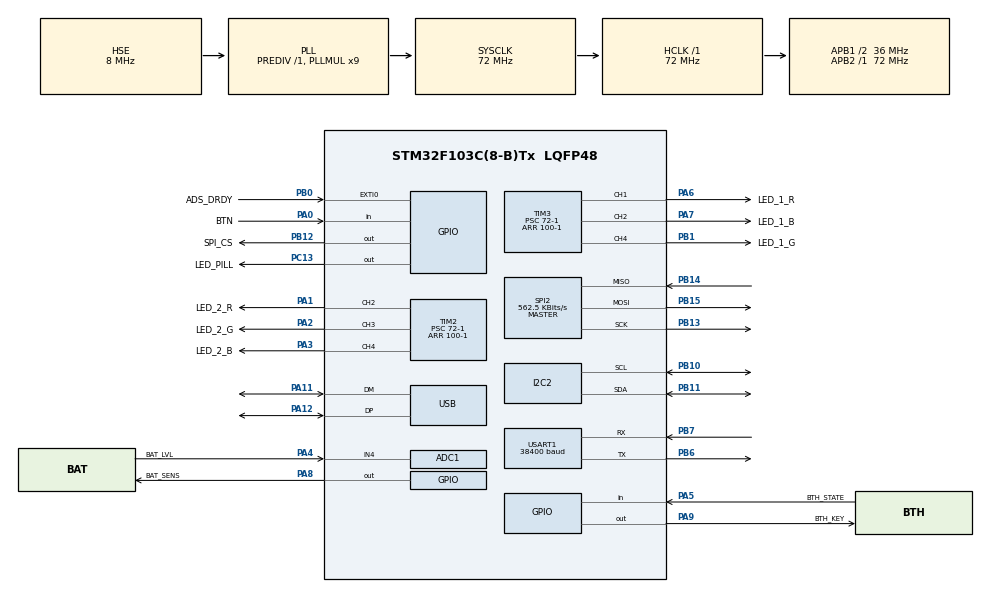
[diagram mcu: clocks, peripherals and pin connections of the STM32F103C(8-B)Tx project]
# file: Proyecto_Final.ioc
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Mcu.Family=STM32F1
SPI2.VirtualType=VM_MASTER
PB10.Mode=I2C
USART1.BaudRate=38400
PA11.Mode=Device
PA6.GPIO_Label=LED_1_R
PB0.GPIO_Label=ADS_DRDY
NVIC.TIM1_UP_IRQn=true\:0\:0\:false\:false\:true\:false\:true
TIM2.Channel-PWM\ Generation2\ CH2=TIM_CHANNEL_2
PB11.Signal=I2C2_SDA
PB13.Signal=SPI2_SCK
PB15.Signal=SPI2_MOSI
TIM3.Channel-PWM\ Generation4\ CH4=TIM_CHANNEL_4
RCC.SYSCLKSource=RCC_SYSCLKSOURCE_PLLCLK
ProjectManager.StackSize=0x400
PD1-OSC_OUT.Signal=RCC_OSC_OUT
PA12.Signal=USB_DP
RCC.HCLKFreq_Value=72000000
RCC.APB2TimFreq_Value=72000000
TIM3.Period=100-1
PB6.Signal=USART1_TX
PB6.Mode=Asynchronous
RCC.AHBFreq_Value=72000000
SPI2.BaudRatePrescaler=SPI_BAUDRATEPRESCALER_64
TIM3.Channel-PWM\ Generation1\ CH1=TIM_CHANNEL_1
ADC1.Channel-0\#ChannelRegularConversion=ADC_CHANNEL_4
RCC.PLLMUL=RCC_PLL_MUL9
PB12.GPIO_Label=SPI_CS
PB0.GPIO_ModeDefaultEXTI=GPIO_MODE_IT_FALLING
PA14.Mode=Serial_Wire
PB14.Mode=Full_Duplex_Master
VP_SYS_VS_tim1.Mode=TIM1
TIM3.Prescaler=72-1
PB1.GPIO_Label=LED_1_G
SPI2.CalculateBaudRate=562.5 KBits/s
PB7.Signal=USART1_RX
PA8.Signal=GPIO_Output
NVIC.SPI2_IRQn=true\:14\:0\:true\:false\:true\:true\:true
SH.S_TIM3_CH1.0=TIM3_CH1,PWM Generation1 CH1
ADC1.SamplingTime-0\#ChannelRegularConversion=ADC_SAMPLETIME_1CYCLE_5
Mcu.Package=LQFP48
TIM2.Prescaler=72-1
PB1.Signal=S_TIM3_CH4
PA6.Signal=S_TIM3_CH1
NVIC.TimeBase=TIM1_UP_IRQn
SPI2.Mode=SPI_MODE_MASTER
PA2.GPIO_Label=LED_2_G
NVIC.TimeBaseIP=TIM1
SPI2.CLKPhase=SPI_PHASE_2EDGE
RCC.APB1TimFreq_Value=72000000
SPI2.Direction=SPI_DIRECTION_2LINES
PB13.Mode=Full_Duplex_Master
NVIC.USART1_IRQn=true\:15\:0\:true\:false\:true\:true\:true
PA4.GPIO_Label=BAT_LVL
VP_TIM3_VS_ClockSourceINT.Mode=Internal
PA3.Signal=S_TIM2_CH4
TIM2.Channel-PWM\ Generation4\ CH4=TIM_CHANNEL_4
ADC1.Rank-0\#ChannelRegularConversion=1
PD1-OSC_OUT.Mode=HSE-External-Oscillator
PA9.GPIO_Label=BTH_KEY
PC13-TAMPER-RTC.Signal=GPIO_Output
RCC.USBPrescaler=RCC_USBCLKSOURCE_PLL_DIV1_5
PD0-OSC_IN.Signal=RCC_OSC_IN
RCC.APB1CLKDivider=RCC_HCLK_DIV2
PA0-WKUP.GPIO_Label=BTN
PA0-WKUP.Signal=GPIO_Input
RCC.ADCPresc=RCC_ADCPCLK2_DIV6
PA13.Signal=SYS_JTMS-SWDIO
SH.S_TIM2_CH2.0=TIM2_CH2,PWM Generation2 CH2
PA8.GPIO_Label=BAT_SENS
PB11.Mode=I2C
ProjectManager.TargetToolchain=STM32CubeIDE
PA9.Signal=GPIO_Output
RCC.USBFreq_Value=48000000
PA1.Signal=S_TIM2_CH2
PD0-OSC_IN.Mode=HSE-External-Oscillator
PB10.Signal=I2C2_SCL
PB14.Signal=SPI2_MISO
PA5.Signal=GPIO_Input
SH.S_TIM3_CH2.0=TIM3_CH2,PWM Generation2 CH2
board=custom
PC13-TAMPER-RTC.GPIO_Label=LED_PILL
PB15.Mode=Full_Duplex_Master
RCC.APB2Freq_Value=72000000
VP_TIM2_VS_ClockSourceINT.Mode=Internal
SH.S_TIM2_CH3.0=TIM2_CH3,PWM Generation3 CH3
PA1.GPIO_Label=LED_2_R
TIM2.Channel-PWM\ Generation3\ CH3=TIM_CHANNEL_3
SH.ADCx_IN4.0=ADC1_IN4,IN4
TIM2.Period=100-1
PA13.Mode=Serial_Wire
Mcu.Name=STM32F103C(8-B)Tx
PA2.Signal=S_TIM2_CH3
NVIC.EXTI0_IRQn=true\:15\:0\:true\:false\:true\:true\:true
PA4.Signal=ADCx_IN4
RCC.SYSCLKFreq_VALUE=72000000
PA7.GPIO_Label=LED_1_B
ADC1.master=1
PA12.Mode=Device
PA5.GPIO_Label=BTH_STATE
USART1.VirtualMode=VM_ASYNC
PA11.Signal=USB_DM
PB7.Mode=Asynchronous
PA14.Signal=SYS_JTCK-SWCLK
ProjectManager.HeapSize=0x200
SH.S_TIM2_CH4.0=TIM2_CH4,PWM Generation4 CH4
PA8.GPIO_PuPd=GPIO_PULLDOWN
NVIC.PriorityGroup=NVIC_PRIORITYGROUP_4
ADC1.NbrOfConversionFlag=1
TIM3.Channel-PWM\ Generation2\ CH2=TIM_CHANNEL_2
RCC.APB1Freq_Value=36000000
PB0.Signal=GPXTI0
PB12.Signal=GPIO_Output
PB0.GPIO_PuPd=GPIO_PULLUP
PA3.GPIO_Label=LED_2_B
SH.S_TIM3_CH4.0=TIM3_CH4,PWM Generation4 CH4
PA7.Signal=S_TIM3_CH2

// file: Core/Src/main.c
/* USER CODE BEGIN Header */
/*
 *  fecha: 12-2023
 *  Autor: Martín De Luca - martindeluca@frba.utn.edu.ar
 *
 */
/**
  ******************************************************************************
  * @file           : main.c
  * @brief          : Main program body
  ******************************************************************************
  * @attention
  *
  * <h2><center>&copy; Copyright (c) 2023 STMicroelectronics.
  * All rights reserved.</center></h2>
  *
  * This software component is licensed by ST under BSD 3-Clause license,
  * the "License"; You may not use this file except in compliance with the
  * License. You may obtain a copy of the License at:
  *                        opensource.org/licenses/BSD-3-Clause
  *
  ******************************************************************************
  */
/* USER CODE END Header */
#include "main.h"

/* USER CODE BEGIN PD */
#define nanofisio
/* USER CODE END PD */

ADC_HandleTypeDef hadc1;

I2C_HandleTypeDef hi2c2;

SPI_HandleTypeDef hspi2;

TIM_HandleTypeDef htim2;
TIM_HandleTypeDef htim3;

UART_HandleTypeDef huart1;
DMA_HandleTypeDef hdma_usart1_tx;

PCD_HandleTypeDef hpcd_USB_FS;

/* USER CODE BEGIN PV */
uint8_t recv_char;
uint8_t recv_3char[3];

uint32_t add_sn       = 0x0801F800;	//PAGINA 126// DIR DE MEMORIA FLASH Serial Number
uint32_t add_state    = 0x0801FC00;	// DIR DE MEMORIA estado del equipo
uint32_t add_bth_name = 0x0801FD00;	// DIR DE MEMORIA estado del equipo
uint32_t add_id       = 0x0801FC10;	// DIR DE MEMORIA FLASH Version del firmware

/* USER CODE END PV */

void SystemClock_Config(void);
static void MX_GPIO_Init(void);
static void MX_DMA_Init(void);
static void MX_ADC1_Init(void);
static void MX_USB_PCD_Init(void);
static void MX_I2C2_Init(void);
static void MX_SPI2_Init(void);
static void MX_USART1_UART_Init(void);
static void MX_TIM2_Init(void);
static void MX_TIM3_Init(void);
/* USER CODE BEGIN PFP */
uint8_t fnc_debounce(GPIO_TypeDef *GPIOx, uint16_t GPIO_Pin);
/* USER CODE END PFP */

/* USER CODE BEGIN 0 */
void fnc_TEST_LED (){
	uint8_t LED = LED_1;
//	uint8_t ACT_STATE = 0;
	int8_t LOOP_TIMES = 2;
	LED_START(LED_1);
	LED_START(LED_2);

	while (LOOP_TIMES){
		LED_Color(LED_COLOR_R, LED);
		vTaskDelay(100);
		LED_Off(LED);
		vTaskDelay(100);
		LED_Color(LED_COLOR_G, LED);
		vTaskDelay(100);
		LED_Off(LED);
		vTaskDelay(100);
		LED_Color(LED_COLOR_B, LED);
		vTaskDelay(100);
		LED_Off(LED);

		if (LED_1 == LED)
			LED = LED_2;
		else
			LED = LED_1;
		LOOP_TIMES--;
	}
}
void config_MAX(){
	taskENTER_CRITICAL();
	if(0 == max3010x_init_state()){
		max3010x_initialization(&hi2c2);
	}
	taskEXIT_CRITICAL();
}
void config_ADS(){
	ADS_REG REG_CONFIG = ADS1292_Default_REG();
	taskENTER_CRITICAL();// DELIMITACIÓN DE SECCIÓN CR�?TICA
	ADS1292_Init(&hspi2, SPI_CS_GPIO_Port, SPI_CS_Pin, EXTI0_IRQn);
	REG_CONFIG.SP_RATE      = CFG1_DR_FMOD_DIV256;
	REG_CONFIG.TEST.FREC    = CFG2_TEST_FREQ_1K;
	REG_CONFIG.TEST.ENABLED = CFG2_TEST_ON;
	REG_CONFIG.PDB_REFBUF   = CFG2_PDB_REFBUF;

	REG_CONFIG.CH1.ENABLED  = CHNSET_POWER_ENABLED;
	REG_CONFIG.CH1.GAIN     = CHNSET_GAIN_1;
	REG_CONFIG.CH1.MUX      = CHNSET_MUXN_TEST_SIGNAL;

	REG_CONFIG.CH2.ENABLED  = CHNSET_POWER_ENABLED;
	REG_CONFIG.CH2.GAIN     = CHNSET_GAIN_6;
	REG_CONFIG.CH2.MUX      = CHNSET_MUXN_NORMAL;
	ADS1292_Config(REG_CONFIG);
	//ADS1292_Suspend();
	taskEXIT_CRITICAL();// FINALIZACIÓN DE LA SECCIÓN CRITICA
}

static void tsk_GET_SIGNALS (void *pvParameters){
	HAL_StatusTypeDef ret_state;
	uint8_t ACT_STATE = 0;

	DATAQUEUE_2 DATA2SEND2;
	DATAQUEUE_3 DATA2SEND3;

	OperationMode mode;
	const SystemConfig  *config_mode;
	//Var ECG
	ADS_DATA SAMPLE_ECG;
	int32_t ECG[2];
	Filter_Data ecgch1f = {0};
	int32_t ecgcw = 0;
	UNUSED(ecgch1f);
	//Var PPG
	int16_t SAMPLE_PPG[2];
	int32_t IR_REDac[2];

	Filter_Data irf  = {0};
	Filter_Data redf = {0};
	//Var TRIANG
	uint32_t test_signal[2];

	//Loop
	while(1){
		//xQueuePeek(qe_states, &ACT_STATE, portMAX_DELAY);
		/* ECG - ADS1292 24BITS
		 * Interrupción por software a 1khz
		 * TODO: FILTROS 50-100-150HZ
		 */
		if ((uxQueueMessagesWaiting(qe_tx_uart3) >= 15)||(uxQueueMessagesWaiting(qe_tx_uart2) >= 15)) {
			if (xHandleUART != NULL) {
			    xTaskNotify(xHandleUART, 0, eIncrement);
			} else {
			    // opcional: toggle LED, log, etc.
			}
		}

		if( ADS1292_Interrupt_Flag() ){
			SAMPLE_ECG = ADS1292_Read_Data();
			ECG[0] = DCRemove(SAMPLE_ECG.ch[1], &ecgcw);
			ECG[1] = SAMPLE_ECG.ch[0];
			//STATUS = SAMPLE_ECG.status;
		//	xQueueSendToFront(qe_tx_uart, &ECG, portMAX_DELAY);
		}
		/**
		 * PPG - MAX30102
		 * IR and RED channels 16bits
		 * TODO: Chequear e implementar la cola fifo incluida en el chip
		 */
		if (max3010x_read_data( &SAMPLE_PPG[0], &SAMPLE_PPG[1])){
			clearFIFO();
			IR_REDac[0] = DCRemove(SAMPLE_PPG[0],& IRcw);
			IR_REDac[1] = DCRemove(SAMPLE_PPG[1],& REDcw);

			IR_REDac[0] = LowPassButterworthFilter(IR_REDac[0], &irf);
			IR_REDac[1] = LowPassButterworthFilter(IR_REDac[1], &redf);
			IR_REDac[0] = -( IR_REDac[0] );
			IR_REDac[1] = -( IR_REDac[1] );
		//	xQueueSendToFront(qe_tx_uart, &IR_REDac, portMAX_DELAY);
		}
		/*
		 * Test triangular 101
		 * TODO: Se puede hacer algo mas cheto
		 */
		// In tsk_GET_SIGNALS task:
		static int32_t test_signal = 0;
		static int32_t step = 0x0FFF; // Adjust step size as needed

		test_signal += step;
		if (test_signal >= 0x7FFFFF || test_signal <= -0x7FFFFF) {
		    step = -step; // Reverse direction at peaks
		}
		/*
		 * TRANSMIT DATA TO BUFFER
		 */
		xQueuePeek(qe_mode, &mode, 0);
		config_mode = &mode_config[mode];
		if (config_mode->channels == 2){
			if (config_mode->ecg_enabled == true){
				switch (config_mode->ecg_mode ){
					case 3:
						DATA2SEND2.ch2 = ECG[1];
						DATA2SEND2.ch1 = ECG[0];
						break;
					case 1:
						DATA2SEND2.ch1 = ECG[1];
						break;
					case 0:
						DATA2SEND2.ch1 = ECG[1];
						break;
				}
			}
			if (config_mode->ppg1_enabled == true)
				DATA2SEND2.ch2 = IR_REDac[0];
			if (config_mode->ppg2_enabled == true)
				DATA2SEND2.ch2 = IR_REDac[1];
			if (config_mode->test_signal_enabled == true)
				DATA2SEND2.ch2 = test_signal;
			xQueueSendToBack(qe_tx_uart2, &DATA2SEND2, portMAX_DELAY);
		}
		if (config_mode->channels == 3){
			if (config_mode->ecg_enabled == true){
				switch (config_mode->ecg_mode ){
					case 1:
						DATA2SEND3.ch1 = ECG[1];
						break;
					case 0:
						DATA2SEND3.ch1 = ECG[0];
						break;
				}
			}
			if (config_mode->ppg1_enabled == true)
				DATA2SEND3.ch2 = IR_REDac[0];
			if (config_mode->ppg2_enabled == true)
				DATA2SEND3.ch3 = IR_REDac[1];
			xQueueSendToBack(qe_tx_uart3, &DATA2SEND3, portMAX_DELAY);
		}

	}
	vTaskDelete( NULL ); //SAFETY
}
typedef struct __attribute__((packed)) {
	int32_t sync;
	int32_t ch1;
	int32_t ch2;
} TX_FRAME_2CH;

void wrap_dataqueue2(TX_FRAME_2CH *dest, const DATAQUEUE_2 *src) {
	dest->sync = 0x7FFFFFFF;
	dest->ch1  = src->ch1;
	dest->ch2  = src->ch2;
}

static void tsk_UART_TX (void *pvParameters){
	HAL_StatusTypeDef ret_state;
	uint8_t ACT_STATE = 0;
	UBaseType_t count;

    // Buffer para almacenar hasta 15 elementos antes de enviar
    DATAQUEUE_3 buffer_3[15];  // Para el modo de 3 canales
    DATAQUEUE_2 buffer_2[15];  // Para el modo de 2 canales

    TX_FRAME_2CH tx_buffer[15];

	OperationMode current_mode;
	const SystemConfig  *config_mode;
	uint32_t ulNotificationValue;
	BaseType_t xResult;

	static uint32_t notifyCount = 0;

	while(1){
		xResult = xTaskNotifyWait(
			    0,              // Do not clear bits on entry
			    0xFFFFFFFF,     // Clear all bits on exit (equivalent to ULONG_MAX)
			    &ulNotificationValue,
			    portMAX_DELAY
			);
		notifyCount++;
		xQueuePeek(qe_mode, &current_mode, 0);
		config_mode = &mode_config[current_mode];
		if (config_mode->channels == 3) {
			// Extraer 15 elementos de la cola
			for (int i = 0; i < 15; i++) {
				xQueueReceive(qe_tx_uart3, &buffer_3[i], portMAX_DELAY);
				//xQueueReset(qe_tx_uart3);
			}
			// Enviar los 15 paquetes de una sola vez (15 * 12 bytes)
			//ret_state = HAL_UART_Transmit_DMA(&huart1, (uint8_t*)buffer_3, sizeof(DATAQUEUE_3));
		}
		else {
			configASSERT(uxQueueMessagesWaiting(qe_tx_uart2) >= 15);
			for (int i = 0; i < 15; i++) {
				xQueueReceive(qe_tx_uart2, &buffer_2[i], portMAX_DELAY);
				wrap_dataqueue2(&tx_buffer[i], &buffer_2[i]);
			}
			//xQueueReset(qe_tx_uart2);
			//xQueueReceive(qe_tx_uart2, &buffer_2[0], portMAX_DELAY);
/*
			if (huart1.gState == HAL_UART_STATE_READY) {
			    HAL_UART_Transmit_DMA(&huart1, (uint8_t*)tx_buffer, sizeof(tx_buffer));
			}*/
			ret_state = HAL_UART_Transmit_IT(&huart1, (uint8_t*)tx_buffer, sizeof(tx_buffer));
		}
	}
	vTaskDelete( NULL ); //SAFETY
}

static void tsk_MAIN (void *pvParameters){
	HAL_StatusTypeDef ret_state;
	BaseType_t ret_task = pdFALSE;
	static OperationMode prev_mode = STOP,
						 ACT_STATE;

	LED_START(LED_2);
	fnc_TEST_LED ();

	while (1){
		vTaskDelay(50);
		xQueuePeek(qe_mode, &ACT_STATE, 0);
		if( fnc_debounce(BTN_GPIO_Port, BTN_Pin) ){
			ACT_STATE = (ACT_STATE == DBG03) ? STOP : ACT_STATE + 1;
			xQueueOverwrite(qe_mode, &ACT_STATE);
		}
	    if(ACT_STATE != prev_mode){
			taskENTER_CRITICAL();
			xQueueReset(qe_tx_uart2);
			xQueueReset(qe_tx_uart3);
			if (STOP == ACT_STATE){
				LED_Off(LED_2);
				ADS1292_Suspend();
				vTaskSuspend(xHandleSIGNALS);
				vTaskSuspend(xHandleUART);
			}
			else{
				if (STOP == prev_mode){
					ADS1292_Resume();
					vTaskResume(xHandleUART);
					vTaskResume(xHandleSIGNALS);
				}
				if (5 <= ACT_STATE)
					LED_Color(LED_WHITE, LED_2);
				if (1 == ACT_STATE)
					LED_Color(LED_COLOR_B, LED_2);
				if (2 == ACT_STATE)
					LED_Color(LED_COLOR_G, LED_2);
				if (3 == ACT_STATE)
					LED_Color(LED_COLOR_R, LED_2);
				if (4 == ACT_STATE)
					LED_Color(LED_COLOR_GB, LED_2);
			}
			prev_mode = ACT_STATE;
			taskEXIT_CRITICAL();
	        //vTaskDelay(pdMS_TO_TICKS(10)); // Tiempo de estabilización
	    }
	}
	vTaskDelete( NULL ); //SAFETY
}

static void tsk_BAT (void *pvParameters){
	LED_START(LED_1);
	HAL_ADCEx_Calibration_Start(&hadc1);
	int BAT_LVL = 0;

	HAL_GPIO_WritePin(BAT_SENS_GPIO_Port, BAT_SENS_Pin, GPIO_PIN_SET);
	HAL_ADC_Start(&hadc1);
	HAL_ADC_PollForConversion(&hadc1, 500);
	BAT_LVL = HAL_ADC_GetValue(&hadc1);
	HAL_ADC_Stop(&hadc1);
	HAL_GPIO_WritePin(BAT_SENS_GPIO_Port, BAT_SENS_Pin, GPIO_PIN_RESET);
	if (BAT_LVL >= 2000)
		LED_Color(LED_STANDBY, LED_1);
	else
		LED_Color(LED_LOWPOW, LED_1);

	while (1){
		vTaskDelay((1000 / portTICK_PERIOD_MS)*2);

		HAL_GPIO_WritePin(BAT_SENS_GPIO_Port, BAT_SENS_Pin, GPIO_PIN_SET);
		HAL_ADC_Start(&hadc1);
		HAL_ADC_PollForConversion(&hadc1, 500);
		BAT_LVL = HAL_ADC_GetValue(&hadc1);
		HAL_ADC_Stop(&hadc1);
		HAL_GPIO_WritePin(BAT_SENS_GPIO_Port, BAT_SENS_Pin, GPIO_PIN_RESET);
		if (BAT_LVL <= LOWBAT)
			LED_Toggle_Color(LED_LOWPOW, LED_1);
		else if (BAT_LVL <= MEDBAT)
			LED_Toggle_Color(LED_MEDPOW, LED_1);
		else
			LED_Toggle_Color(LED_FULLPOW, LED_1);
	}
	vTaskDelete( NULL ); //SAFETY
}

void handle_uart_command(const char *cmd) {
    OperationMode new_mode;

    taskENTER_CRITICAL();
    if(strcmp(cmd, "MODE1") == 0)      new_mode = MODE1;
    else if(strcmp(cmd, "MODE2") == 0) new_mode = MODE2;
    else if(strcmp(cmd, "MODE3") == 0) new_mode = MODE3;
    else if(strcmp(cmd, "MODE4") == 0) new_mode = MODE4;
    else if(strcmp(cmd, "DBG01") == 0) new_mode = DBG01;
    else if(strcmp(cmd, "DBG02") == 0) new_mode = DBG02;
    else if(strcmp(cmd, "DBG03") == 0) new_mode = DBG03;
    else if(strcmp(cmd, "STOP" ) == 0) new_mode = STOP;
    else if(strcmp(cmd, "RESET") == 0) new_mode = RST;
    else {
     //TODO:   send_uart_response("ERR: Invalid command");
        return;
    }
    if(new_mode == RST) new_mode = MODE1;

    xQueueSend(qe_mode,&new_mode,0);

//TODO:   apply_operation_mode(new_mode);
 //   send_uart_response("OK: Mode set");
    taskEXIT_CRITICAL();
}

void HAL_GPIO_EXTI_Callback(uint16_t GPIO_Pin){
	ADS1292_On_Interrupt();
}

void HAL_UART_RxCpltCallback(UART_HandleTypeDef *huart){
    static char rx_buf[5];
    static uint8_t idx = 0;

	if( USART1 == huart->Instance){
		HAL_StatusTypeDef ret_hal_int;
		BaseType_t pxHigherPriorityTaskWoken = pdFALSE, ret_queue;

        rx_buf[idx++] = recv_char;

        if(5 == idx){
            uart_cmd_t new_cmd;
            memcpy(new_cmd.cmd, rx_buf, 5);
            new_cmd.cmd[5] = '\0';
            ret_queue = xQueueSendFromISR(qe_rx_uart, &new_cmd, pxHigherPriorityTaskWoken);
            idx = 0;
        }
		ret_hal_int = HAL_UART_Receive_IT(&huart1, &recv_char, 1); //UART1 Interrupt call
		portEND_SWITCHING_ISR(pxHigherPriorityTaskWoken);
	}
}

void HAL_UART_TxCpltCallback(UART_HandleTypeDef *huart) {
    if (huart == &huart1) {
    	LED_Toggle_Color(LED_ERROR, LED_2);
    }
}

uint8_t fnc_debounce(GPIO_TypeDef *GPIOx, uint16_t GPIO_Pin){
	if ( !HAL_GPIO_ReadPin(GPIOx, GPIO_Pin) ){
		HAL_Delay(80);
		if( !HAL_GPIO_ReadPin(GPIOx, GPIO_Pin) ){
			while(!HAL_GPIO_ReadPin(GPIOx, GPIO_Pin));
			return 1;
		}
	}
	return 0;
}

void stop_all_peripherals(){
	ADS1292_PW_OFF();
}
/*
void apply_operation_mode(OperationMode mode) {
    static OperationMode prev_mode = STOP;

    // Detener periféricos si hubo cambio de modo
    if(mode != prev_mode){
        stop_all_peripherals();
        vTaskDelay(pdMS_TO_TICKS(10)); // Tiempo de estabilización
    }

    const SystemConfig *cfg = &mode_config[mode];

    // Configurar ECG
    if(cfg->ecg_enabled){
        if(cfg->ecg_mode == 0)
        	init_ecg_real(cfg->test_freq);
        else
        	init_ecg_test_square(cfg->test_freq);
    }

    // Configurar PPG1
    if(cfg->ppg1_enabled) {
        if(cfg->ppg1_mode == 0)
        	init_ppg1_real();
        else
        	init_ppg1_test_triangular(cfg->test_freq);
    }

    // Configurar PPG2 (siempre real)
    if(cfg->ppg2_enabled)
    	init_ppg2_real();

    // Configurar señal de test
    if(cfg->test_signal_enabled) {
        init_test_generator(TRIANGULAR, cfg->test_freq);
    }
    prev_mode = mode;
}*/

//
/* USER CODE END 0 */

int main(void)
{

  /* MCU Configuration--------------------------------------------------------*/

  /* Reset of all peripherals, Initializes the Flash interface and the Systick. */
  HAL_Init();

  /* USER CODE BEGIN Init */

  //qe_states   = xQueueCreate(1, sizeof(STATE));
  qe_mode     = xQueueCreate(1, sizeof(OperationMode));
  qe_tx_uart3 = xQueueCreate(25, sizeof(DATAQUEUE_3)); //3x32bits
  qe_tx_uart2 = xQueueCreate(25, sizeof(DATAQUEUE_2)); //2x32bits
  configASSERT(qe_tx_uart2 != NULL); // Aborta si falla
  configASSERT(qe_tx_uart3 != NULL); // Aborta si falla

//  qe_tx_uart = xQueueCreate(1, sizeof(int32_t)); //2x16bits
//  qe_rx_uart = xQueueCreate(1, sizeof(uint16_t));

  /* USER CODE END Init */

  /* Configure the system clock */
  SystemClock_Config();

  /* Initialize all configured peripherals */
  MX_GPIO_Init();
  MX_DMA_Init();
  MX_ADC1_Init();
  MX_USB_PCD_Init();
  MX_I2C2_Init();
  MX_SPI2_Init();
  MX_USART1_UART_Init();
  MX_TIM2_Init();
  MX_TIM3_Init();
  /* USER CODE BEGIN 2 */
  INIT_LEDS(htim3, htim2);
  config_MAX();
  config_ADS();

  /* USER CODE BEGIN SysInit */

  static OperationMode INITMODE = MODE1;//DBG01;
  xQueueSend(qe_mode,&INITMODE,0);

  BaseType_t ret_task = pdFALSE;

  ret_task = xTaskCreate(tsk_MAIN,
						"",
						configMINIMAL_STACK_SIZE,
						NULL,
						tskIDLE_PRIORITY + 3,
						NULL);

  ret_task = xTaskCreate(tsk_BAT,
						"",
						configMINIMAL_STACK_SIZE,
						NULL,
						tskIDLE_PRIORITY + 3,
						NULL);

  ret_task = xTaskCreate(tsk_UART_TX,
						"",
						configMINIMAL_STACK_SIZE,
						NULL,
						tskIDLE_PRIORITY + 3,
						&xHandleUART);

  ret_task = xTaskCreate(tsk_GET_SIGNALS,
						"",
						configMINIMAL_STACK_SIZE,
						NULL,
						tskIDLE_PRIORITY + 3,
						&xHandleSIGNALS);

  vTaskSuspend(xHandleSIGNALS);
  vTaskSuspend(xHandleUART);

  if (pdFALSE == ret_task){
//	  TODO: error
  }
  vTaskStartScheduler();

  /* USER CODE END 2 */

  /* Infinite loop */
  while (1)
  {
	  /*const char msg[] = "DMA WORKS\r\n";

	  if (huart1.gState == HAL_UART_STATE_READY) {
	      HAL_UART_Transmit_DMA(&huart1, (uint8_t*)msg, sizeof(msg)-1);
	  }*/
  }
}

void SystemClock_Config(void)
{
  RCC_OscInitTypeDef RCC_OscInitStruct = {0};
  RCC_ClkInitTypeDef RCC_ClkInitStruct = {0};
  RCC_PeriphCLKInitTypeDef PeriphClkInit = {0};

  /** Initializes the RCC Oscillators according to the specified parameters
  * in the RCC_OscInitTypeDef structure.
  */
  RCC_OscInitStruct.OscillatorType = RCC_OSCILLATORTYPE_HSE;
  RCC_OscInitStruct.HSEState = RCC_HSE_ON;
  RCC_OscInitStruct.HSEPredivValue = RCC_HSE_PREDIV_DIV1;
  RCC_OscInitStruct.HSIState = RCC_HSI_ON;
  RCC_OscInitStruct.PLL.PLLState = RCC_PLL_ON;
  RCC_OscInitStruct.PLL.PLLSource = RCC_PLLSOURCE_HSE;
  RCC_OscInitStruct.PLL.PLLMUL = RCC_PLL_MUL9;
  if (HAL_RCC_OscConfig(&RCC_OscInitStruct) != HAL_OK)
  {
    Error_Handler();
  }
  /** Initializes the CPU, AHB and APB buses clocks
  */
  RCC_ClkInitStruct.ClockType = RCC_CLOCKTYPE_HCLK|RCC_CLOCKTYPE_SYSCLK
                              |RCC_CLOCKTYPE_PCLK1|RCC_CLOCKTYPE_PCLK2;
  RCC_ClkInitStruct.SYSCLKSource = RCC_SYSCLKSOURCE_PLLCLK;
  RCC_ClkInitStruct.AHBCLKDivider = RCC_SYSCLK_DIV1;
  RCC_ClkInitStruct.APB1CLKDivider = RCC_HCLK_DIV2;
  RCC_ClkInitStruct.APB2CLKDivider = RCC_HCLK_DIV1;

  if (HAL_RCC_ClockConfig(&RCC_ClkInitStruct, FLASH_LATENCY_2) != HAL_OK)
  {
    Error_Handler();
  }
  PeriphClkInit.PeriphClockSelection = RCC_PERIPHCLK_ADC|RCC_PERIPHCLK_USB;
  PeriphClkInit.AdcClockSelection = RCC_ADCPCLK2_DIV6;
  PeriphClkInit.UsbClockSelection = RCC_USBCLKSOURCE_PLL_DIV1_5;
  if (HAL_RCCEx_PeriphCLKConfig(&PeriphClkInit) != HAL_OK)
  {
    Error_Handler();
  }
}

static void MX_ADC1_Init(void)
{

  ADC_ChannelConfTypeDef sConfig = {0};

  /** Common config
  */
  hadc1.Instance = ADC1;
  hadc1.Init.ScanConvMode = ADC_SCAN_DISABLE;
  hadc1.Init.ContinuousConvMode = DISABLE;
  hadc1.Init.DiscontinuousConvMode = DISABLE;
  hadc1.Init.ExternalTrigConv = ADC_SOFTWARE_START;
  hadc1.Init.DataAlign = ADC_DATAALIGN_RIGHT;
  hadc1.Init.NbrOfConversion = 1;
  if (HAL_ADC_Init(&hadc1) != HAL_OK)
  {
    Error_Handler();
  }
  /** Configure Regular Channel
  */
  sConfig.Channel = ADC_CHANNEL_4;
  sConfig.Rank = ADC_REGULAR_RANK_1;
  sConfig.SamplingTime = ADC_SAMPLETIME_1CYCLE_5;
  if (HAL_ADC_ConfigChannel(&hadc1, &sConfig) != HAL_OK)
  {
    Error_Handler();
  }

}

static void MX_I2C2_Init(void)
{

  hi2c2.Instance = I2C2;
  hi2c2.Init.ClockSpeed = 100000;
  hi2c2.Init.DutyCycle = I2C_DUTYCYCLE_2;
  hi2c2.Init.OwnAddress1 = 0;
  hi2c2.Init.AddressingMode = I2C_ADDRESSINGMODE_7BIT;
  hi2c2.Init.DualAddressMode = I2C_DUALADDRESS_DISABLE;
  hi2c2.Init.OwnAddress2 = 0;
  hi2c2.Init.GeneralCallMode = I2C_GENERALCALL_DISABLE;
  hi2c2.Init.NoStretchMode = I2C_NOSTRETCH_DISABLE;
  if (HAL_I2C_Init(&hi2c2) != HAL_OK)
  {
    Error_Handler();
  }

}

static void MX_SPI2_Init(void)
{

  /* SPI2 parameter configuration*/
  hspi2.Instance = SPI2;
  hspi2.Init.Mode = SPI_MODE_MASTER;
  hspi2.Init.Direction = SPI_DIRECTION_2LINES;
  hspi2.Init.DataSize = SPI_DATASIZE_8BIT;
  hspi2.Init.CLKPolarity = SPI_POLARITY_LOW;
  hspi2.Init.CLKPhase = SPI_PHASE_2EDGE;
  hspi2.Init.NSS = SPI_NSS_SOFT;
  hspi2.Init.BaudRatePrescaler = SPI_BAUDRATEPRESCALER_64;
  hspi2.Init.FirstBit = SPI_FIRSTBIT_MSB;
  hspi2.Init.TIMode = SPI_TIMODE_DISABLE;
  hspi2.Init.CRCCalculation = SPI_CRCCALCULATION_DISABLE;
  hspi2.Init.CRCPolynomial = 10;
  if (HAL_SPI_Init(&hspi2) != HAL_OK)
  {
    Error_Handler();
  }

}

static void MX_TIM2_Init(void)
{

  TIM_ClockConfigTypeDef sClockSourceConfig = {0};
  TIM_MasterConfigTypeDef sMasterConfig = {0};
  TIM_OC_InitTypeDef sConfigOC = {0};

  htim2.Instance = TIM2;
  htim2.Init.Prescaler = 72-1;
  htim2.Init.CounterMode = TIM_COUNTERMODE_UP;
  htim2.Init.Period = 100-1;
  htim2.Init.ClockDivision = TIM_CLOCKDIVISION_DIV1;
  htim2.Init.AutoReloadPreload = TIM_AUTORELOAD_PRELOAD_DISABLE;
  if (HAL_TIM_Base_Init(&htim2) != HAL_OK)
  {
    Error_Handler();
  }
  sClockSourceConfig.ClockSource = TIM_CLOCKSOURCE_INTERNAL;
  if (HAL_TIM_ConfigClockSource(&htim2, &sClockSourceConfig) != HAL_OK)
  {
    Error_Handler();
  }
  if (HAL_TIM_PWM_Init(&htim2) != HAL_OK)
  {
    Error_Handler();
  }
  sMasterConfig.MasterOutputTrigger = TIM_TRGO_RESET;
  sMasterConfig.MasterSlaveMode = TIM_MASTERSLAVEMODE_DISABLE;
  if (HAL_TIMEx_MasterConfigSynchronization(&htim2, &sMasterConfig) != HAL_OK)
  {
    Error_Handler();
  }
  sConfigOC.OCMode = TIM_OCMODE_PWM1;
  sConfigOC.Pulse = 0;
  sConfigOC.OCPolarity = TIM_OCPOLARITY_HIGH;
  sConfigOC.OCFastMode = TIM_OCFAST_DISABLE;
  if (HAL_TIM_PWM_ConfigChannel(&htim2, &sConfigOC, TIM_CHANNEL_2) != HAL_OK)
  {
    Error_Handler();
  }
  if (HAL_TIM_PWM_ConfigChannel(&htim2, &sConfigOC, TIM_CHANNEL_3) != HAL_OK)
  {
    Error_Handler();
  }
  if (HAL_TIM_PWM_ConfigChannel(&htim2, &sConfigOC, TIM_CHANNEL_4) != HAL_OK)
  {
    Error_Handler();
  }
  HAL_TIM_MspPostInit(&htim2);

}

static void MX_TIM3_Init(void)
{

  TIM_ClockConfigTypeDef sClockSourceConfig = {0};
  TIM_MasterConfigTypeDef sMasterConfig = {0};
  TIM_OC_InitTypeDef sConfigOC = {0};

  htim3.Instance = TIM3;
  htim3.Init.Prescaler = 72-1;
  htim3.Init.CounterMode = TIM_COUNTERMODE_UP;
  htim3.Init.Period = 100-1;
  htim3.Init.ClockDivision = TIM_CLOCKDIVISION_DIV1;
  htim3.Init.AutoReloadPreload = TIM_AUTORELOAD_PRELOAD_DISABLE;
  if (HAL_TIM_Base_Init(&htim3) != HAL_OK)
  {
    Error_Handler();
  }
  sClockSourceConfig.ClockSource = TIM_CLOCKSOURCE_INTERNAL;
  if (HAL_TIM_ConfigClockSource(&htim3, &sClockSourceConfig) != HAL_OK)
  {
    Error_Handler();
  }
  if (HAL_TIM_PWM_Init(&htim3) != HAL_OK)
  {
    Error_Handler();
  }
  sMasterConfig.MasterOutputTrigger = TIM_TRGO_RESET;
  sMasterConfig.MasterSlaveMode = TIM_MASTERSLAVEMODE_DISABLE;
  if (HAL_TIMEx_MasterConfigSynchronization(&htim3, &sMasterConfig) != HAL_OK)
  {
    Error_Handler();
  }
  sConfigOC.OCMode = TIM_OCMODE_PWM1;
  sConfigOC.Pulse = 0;
  sConfigOC.OCPolarity = TIM_OCPOLARITY_HIGH;
  sConfigOC.OCFastMode = TIM_OCFAST_DISABLE;
  if (HAL_TIM_PWM_ConfigChannel(&htim3, &sConfigOC, TIM_CHANNEL_1) != HAL_OK)
  {
    Error_Handler();
  }
  if (HAL_TIM_PWM_ConfigChannel(&htim3, &sConfigOC, TIM_CHANNEL_2) != HAL_OK)
  {
    Error_Handler();
  }
  if (HAL_TIM_PWM_ConfigChannel(&htim3, &sConfigOC, TIM_CHANNEL_4) != HAL_OK)
  {
    Error_Handler();
  }
  HAL_TIM_MspPostInit(&htim3);

}

static void MX_USART1_UART_Init(void)
{

  huart1.Instance = USART1;
  huart1.Init.BaudRate = 115200;
  huart1.Init.WordLength = UART_WORDLENGTH_8B;
  huart1.Init.StopBits = UART_STOPBITS_1;
  huart1.Init.Parity = UART_PARITY_NONE;
  huart1.Init.Mode = UART_MODE_TX_RX;
  huart1.Init.HwFlowCtl = UART_HWCONTROL_NONE;
  huart1.Init.OverSampling = UART_OVERSAMPLING_16;
  if (HAL_UART_Init(&huart1) != HAL_OK)
  {
    Error_Handler();
  }

}

static void MX_USB_PCD_Init(void)
{

  hpcd_USB_FS.Instance = USB;
  hpcd_USB_FS.Init.dev_endpoints = 8;
  hpcd_USB_FS.Init.speed = PCD_SPEED_FULL;
  hpcd_USB_FS.Init.low_power_enable = DISABLE;
  hpcd_USB_FS.Init.lpm_enable = DISABLE;
  hpcd_USB_FS.Init.battery_charging_enable = DISABLE;
  if (HAL_PCD_Init(&hpcd_USB_FS) != HAL_OK)
  {
    Error_Handler();
  }

}

static void MX_DMA_Init(void)
{

  /* DMA controller clock enable */
  __HAL_RCC_DMA1_CLK_ENABLE();

  /* DMA interrupt init */
  /* DMA1_Channel4_IRQn interrupt configuration */
  HAL_NVIC_SetPriority(DMA1_Channel4_IRQn, 0, 0);
  HAL_NVIC_EnableIRQ(DMA1_Channel4_IRQn);

}

static void MX_GPIO_Init(void)
{
  GPIO_InitTypeDef GPIO_InitStruct = {0};

  /* GPIO Ports Clock Enable */
  __HAL_RCC_GPIOC_CLK_ENABLE();
  __HAL_RCC_GPIOD_CLK_ENABLE();
  __HAL_RCC_GPIOA_CLK_ENABLE();
  __HAL_RCC_GPIOB_CLK_ENABLE();

  /*Configure GPIO pin Output Level */
  HAL_GPIO_WritePin(LED_PILL_GPIO_Port, LED_PILL_Pin, GPIO_PIN_RESET);

  /*Configure GPIO pin Output Level */
  HAL_GPIO_WritePin(SPI_CS_GPIO_Port, SPI_CS_Pin, GPIO_PIN_RESET);

  /*Configure GPIO pin Output Level */
  HAL_GPIO_WritePin(GPIOA, BAT_SENS_Pin|BTH_KEY_Pin, GPIO_PIN_RESET);

  /*Configure GPIO pin : LED_PILL_Pin */
  GPIO_InitStruct.Pin = LED_PILL_Pin;
  GPIO_InitStruct.Mode = GPIO_MODE_OUTPUT_PP;
  GPIO_InitStruct.Pull = GPIO_NOPULL;
  GPIO_InitStruct.Speed = GPIO_SPEED_FREQ_LOW;
  HAL_GPIO_Init(LED_PILL_GPIO_Port, &GPIO_InitStruct);

  /*Configure GPIO pins : BTN_Pin BTH_STATE_Pin */
  GPIO_InitStruct.Pin = BTN_Pin|BTH_STATE_Pin;
  GPIO_InitStruct.Mode = GPIO_MODE_INPUT;
  GPIO_InitStruct.Pull = GPIO_NOPULL;
  HAL_GPIO_Init(GPIOA, &GPIO_InitStruct);

  /*Configure GPIO pin : ADS_DRDY_Pin */
  GPIO_InitStruct.Pin = ADS_DRDY_Pin;
  GPIO_InitStruct.Mode = GPIO_MODE_IT_FALLING;
  GPIO_InitStruct.Pull = GPIO_PULLUP;
  HAL_GPIO_Init(ADS_DRDY_GPIO_Port, &GPIO_InitStruct);

  /*Configure GPIO pin : SPI_CS_Pin */
  GPIO_InitStruct.Pin = SPI_CS_Pin;
  GPIO_InitStruct.Mode = GPIO_MODE_OUTPUT_PP;
  GPIO_InitStruct.Pull = GPIO_NOPULL;
  GPIO_InitStruct.Speed = GPIO_SPEED_FREQ_LOW;
  HAL_GPIO_Init(SPI_CS_GPIO_Port, &GPIO_InitStruct);

  /*Configure GPIO pin : BAT_SENS_Pin */
  GPIO_InitStruct.Pin = BAT_SENS_Pin;
  GPIO_InitStruct.Mode = GPIO_MODE_OUTPUT_PP;
  GPIO_InitStruct.Pull = GPIO_PULLDOWN;
  GPIO_InitStruct.Speed = GPIO_SPEED_FREQ_LOW;
  HAL_GPIO_Init(BAT_SENS_GPIO_Port, &GPIO_InitStruct);

  /*Configure GPIO pin : BTH_KEY_Pin */
  GPIO_InitStruct.Pin = BTH_KEY_Pin;
  GPIO_InitStruct.Mode = GPIO_MODE_OUTPUT_PP;
  GPIO_InitStruct.Pull = GPIO_NOPULL;
  GPIO_InitStruct.Speed = GPIO_SPEED_FREQ_LOW;
  HAL_GPIO_Init(BTH_KEY_GPIO_Port, &GPIO_InitStruct);

  /* EXTI interrupt init*/
  HAL_NVIC_SetPriority(EXTI0_IRQn, 15, 0);
  HAL_NVIC_EnableIRQ(EXTI0_IRQn);

}

 /**
  * @brief  Period elapsed callback in non blocking mode
  * @note   This function is called  when TIM1 interrupt took place, inside
  * HAL_TIM_IRQHandler(). It makes a direct call to HAL_IncTick() to increment
  * a global variable "uwTick" used as application time base.
  * @param  htim : TIM handle
  * @retval None
  */
void HAL_TIM_PeriodElapsedCallback(TIM_HandleTypeDef *htim)
{
  if (htim->Instance == TIM1) {
    HAL_IncTick();
  }
}

void Error_Handler(void)
{
  /* USER CODE BEGIN Error_Handler_Debug */
  /* User can add his own implementation to report the HAL error return state */
  __disable_irq();
  while (1)
  {
	  LED_Toggle_Color(LED_ERROR, LED_2);
  }
  /* USER CODE END Error_Handler_Debug */
}

/************************ (C) COPYRIGHT STMicroelectronics *****END OF FILE****/
